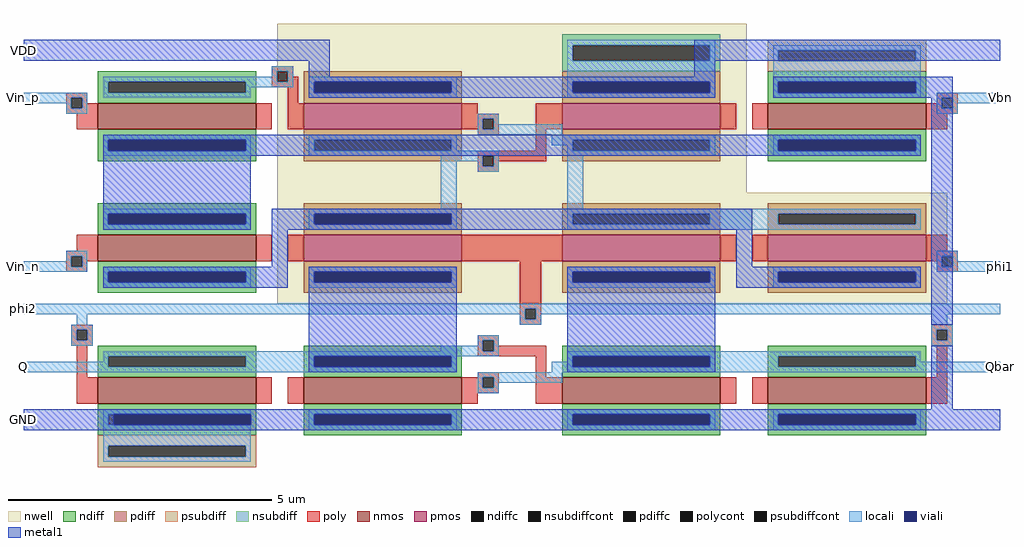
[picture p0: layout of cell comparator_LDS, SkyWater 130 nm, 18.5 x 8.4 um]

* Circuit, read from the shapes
.subckt comparator_LDS VDD Vin_p Vin_n phi2 Q GND Vbn phi1 Qbar
XM1 Q phi2 GND GND sky130_fd_pr__nfet_01v8 w=3 l=0.5
XM2 n1 Vin_n n2 GND sky130_fd_pr__nfet_01v8 w=3 l=0.5
XM3 n3 Vin_p n1 GND sky130_fd_pr__nfet_01v8 w=3 l=0.5
XM4 Q Qbar GND GND sky130_fd_pr__nfet_01v8 w=3 l=0.5
XM5 Qbar Q GND GND sky130_fd_pr__nfet_01v8 w=3 l=0.5
XM6 Qbar phi2 GND GND sky130_fd_pr__nfet_01v8 w=3 l=0.5
XM7 GND Vbn n1 GND sky130_fd_pr__nfet_01v8 w=3 l=0.5
XM8 n2 phi2 Q VDD sky130_fd_pr__pfet_01v8 w=3 l=0.5
XM9 VDD n3 n2 VDD sky130_fd_pr__pfet_01v8 w=3 l=0.5
XM10 n3 phi2 Qbar VDD sky130_fd_pr__pfet_01v8 w=3 l=0.5
XM11 VDD n2 n3 VDD sky130_fd_pr__pfet_01v8 w=3 l=0.5
XM12 n3 phi1 n2 VDD sky130_fd_pr__pfet_01v8 w=3 l=0.5
.ends

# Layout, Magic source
magic
tech sky130A
<< nwell >>
rect -140 420 750 740
rect -140 210 1130 420
<< nmos >>
rect -480 540 -180 590
rect 790 540 1090 590
rect -480 290 -180 340
rect -480 20 -180 70
rect -90 20 210 70
rect 400 20 700 70
rect 790 20 1090 70
<< pmos >>
rect -90 540 210 590
rect 400 540 700 590
rect -90 290 210 340
rect 400 290 700 340
rect 790 290 1090 340
<< ndiff >>
rect -480 630 -180 650
rect -480 610 -460 630
rect -200 610 -180 630
rect -480 590 -180 610
rect 790 630 1090 650
rect 790 610 810 630
rect 1070 610 1090 630
rect 790 590 1090 610
rect -480 520 -180 540
rect -480 500 -460 520
rect -200 500 -180 520
rect -480 480 -180 500
rect 790 520 1090 540
rect 790 500 810 520
rect 1070 500 1090 520
rect 790 480 1090 500
rect -480 380 -180 400
rect -480 360 -460 380
rect -200 360 -180 380
rect -480 340 -180 360
rect -480 270 -180 290
rect -480 250 -460 270
rect -200 250 -180 270
rect -480 230 -180 250
rect -480 110 -180 130
rect -480 90 -460 110
rect -200 90 -180 110
rect -480 70 -180 90
rect -90 110 210 130
rect -90 90 -70 110
rect 190 90 210 110
rect -90 70 210 90
rect 400 110 700 130
rect 400 90 420 110
rect 680 90 700 110
rect 400 70 700 90
rect 790 110 1090 130
rect 790 90 810 110
rect 1070 90 1090 110
rect 790 70 1090 90
rect -480 0 -180 20
rect -480 -20 -460 0
rect -190 -20 -180 0
rect -480 -40 -180 -20
rect -90 0 210 20
rect -90 -20 -70 0
rect 190 -20 210 0
rect -90 -40 210 -20
rect 400 0 700 20
rect 400 -20 420 0
rect 680 -20 700 0
rect 400 -40 700 -20
rect 790 0 1090 20
rect 790 -20 810 0
rect 1070 -20 1090 0
rect 790 -40 1090 -20
<< pdiff >>
rect -90 630 210 650
rect -90 610 -70 630
rect 190 610 210 630
rect -90 590 210 610
rect 400 630 700 650
rect 400 610 420 630
rect 680 610 700 630
rect 400 590 700 610
rect -90 520 210 540
rect -90 500 -70 520
rect 190 500 210 520
rect -90 480 210 500
rect 400 520 700 540
rect 400 500 420 520
rect 680 500 700 520
rect 400 480 700 500
rect -90 380 210 400
rect -90 360 -70 380
rect 190 360 210 380
rect -90 340 210 360
rect 400 380 700 400
rect 400 360 420 380
rect 680 360 700 380
rect 400 340 700 360
rect 790 380 1090 400
rect 790 360 810 380
rect 1070 360 1090 380
rect 790 340 1090 360
rect -90 270 210 290
rect -90 250 -70 270
rect 190 250 210 270
rect -90 230 210 250
rect 400 270 700 290
rect 400 250 420 270
rect 680 250 700 270
rect 400 230 700 250
rect 790 270 1090 290
rect 790 250 810 270
rect 1070 250 1090 270
rect 790 230 1090 250
<< ndiffc >>
rect -460 610 -200 630
rect 810 610 1070 630
rect -460 500 -200 520
rect 810 500 1070 520
rect -460 360 -200 380
rect -460 250 -200 270
rect -460 90 -200 110
rect -70 90 190 110
rect 420 90 680 110
rect 810 90 1070 110
rect -460 -20 -190 0
rect -70 -20 190 0
rect 420 -20 680 0
rect 810 -20 1070 0
<< pdiffc >>
rect -70 610 190 630
rect 420 610 680 630
rect -70 500 190 520
rect 420 500 680 520
rect -70 360 190 380
rect 420 360 680 380
rect 810 360 1070 380
rect -70 250 190 270
rect 420 250 680 270
rect 810 250 1070 270
<< psubdiff >>
rect 790 690 1090 710
rect 790 670 810 690
rect 1070 670 1090 690
rect 790 650 1090 670
rect -480 -60 -180 -40
rect -480 -80 -460 -60
rect -200 -80 -180 -60
rect -480 -100 -180 -80
<< nsubdiff >>
rect 400 700 700 720
rect 400 670 420 700
rect 680 670 700 700
rect 400 650 700 670
<< psubdiffcont >>
rect 810 670 1070 690
rect -460 -80 -200 -60
<< nsubdiffcont >>
rect 420 670 680 700
<< poly >>
rect -150 650 -110 660
rect -150 630 -140 650
rect -120 640 -110 650
rect -120 630 -100 640
rect -150 620 -100 630
rect -540 600 -500 610
rect -540 580 -530 600
rect -510 590 -500 600
rect -120 590 -100 620
rect 1110 600 1150 610
rect 1110 590 1120 600
rect -510 580 -480 590
rect -540 570 -480 580
rect -520 540 -480 570
rect -180 540 -150 590
rect -120 540 -90 590
rect 210 570 240 590
rect 210 560 280 570
rect 210 540 250 560
rect 270 540 280 560
rect 240 530 280 540
rect 350 540 400 590
rect 700 540 730 590
rect 760 540 790 590
rect 1090 580 1120 590
rect 1140 580 1150 600
rect 1090 570 1150 580
rect 1090 540 1130 570
rect 350 500 370 540
rect 240 490 370 500
rect 240 470 250 490
rect 270 480 370 490
rect 270 470 280 480
rect 240 460 280 470
rect -520 310 -480 340
rect -540 300 -480 310
rect -540 280 -530 300
rect -510 290 -480 300
rect -180 290 -150 340
rect -120 290 -90 340
rect 210 290 400 340
rect 700 290 730 340
rect 760 290 790 340
rect 1090 310 1130 340
rect 1090 300 1150 310
rect 1090 290 1120 300
rect -510 280 -500 290
rect -540 270 -500 280
rect 320 200 360 290
rect 1110 280 1120 290
rect 1140 280 1150 300
rect 1110 270 1150 280
rect 320 180 330 200
rect 350 180 360 200
rect 320 170 360 180
rect -530 160 -490 170
rect -530 140 -520 160
rect -500 140 -490 160
rect 1100 160 1140 170
rect -530 130 -490 140
rect 240 140 280 150
rect -520 70 -500 130
rect 240 120 250 140
rect 270 130 280 140
rect 1100 140 1110 160
rect 1130 140 1140 160
rect 1100 130 1140 140
rect 270 120 370 130
rect 240 110 370 120
rect 240 70 280 80
rect -520 20 -480 70
rect -180 20 -150 70
rect -120 20 -90 70
rect 210 50 250 70
rect 270 50 280 70
rect 210 40 280 50
rect 350 70 370 110
rect 1110 70 1130 130
rect 210 20 240 40
rect 350 20 400 70
rect 700 20 730 70
rect 760 20 790 70
rect 1090 20 1130 70
<< polycont >>
rect -140 630 -120 650
rect -530 580 -510 600
rect 250 540 270 560
rect 1120 580 1140 600
rect 250 470 270 490
rect -530 280 -510 300
rect 1120 280 1140 300
rect 330 180 350 200
rect -520 140 -500 160
rect 250 120 270 140
rect 1110 140 1130 160
rect 250 50 270 70
<< locali >>
rect 410 700 690 710
rect 410 670 420 700
rect 680 670 690 700
rect -150 650 -110 660
rect -150 640 -140 650
rect -470 630 -140 640
rect -120 630 -110 650
rect -470 610 -460 630
rect -200 620 -110 630
rect -80 630 200 640
rect -200 610 -190 620
rect -620 600 -500 610
rect -470 600 -190 610
rect -80 610 -70 630
rect 190 610 200 630
rect -80 600 200 610
rect 410 630 690 670
rect 410 610 420 630
rect 680 610 690 630
rect 410 600 690 610
rect 800 690 1080 700
rect 800 670 810 690
rect 1070 670 1080 690
rect 800 630 1080 670
rect 800 610 810 630
rect 1070 610 1080 630
rect 800 600 1080 610
rect 1110 600 1230 610
rect -620 590 -530 600
rect -540 580 -530 590
rect -510 580 -500 600
rect -540 570 -500 580
rect 1110 580 1120 600
rect 1140 590 1230 600
rect 1140 580 1150 590
rect 1110 570 1150 580
rect 240 560 280 570
rect 240 540 250 560
rect 270 550 280 560
rect 270 540 400 550
rect 240 530 400 540
rect -470 520 -190 530
rect -470 500 -460 520
rect -200 500 -190 520
rect -470 490 -190 500
rect -80 520 200 530
rect -80 500 -70 520
rect 190 500 200 520
rect 380 520 690 530
rect 380 510 420 520
rect 410 500 420 510
rect 680 500 690 520
rect -80 490 280 500
rect 170 480 250 490
rect 170 390 200 480
rect 240 470 250 480
rect 270 470 280 490
rect 240 460 280 470
rect 410 490 690 500
rect 800 520 1080 530
rect 800 500 810 520
rect 1070 500 1080 520
rect 800 490 1080 500
rect -470 380 -190 390
rect -470 360 -460 380
rect -200 360 -190 380
rect -470 350 -190 360
rect -80 380 200 390
rect -80 360 -70 380
rect 190 360 200 380
rect -80 350 200 360
rect 410 390 440 490
rect 410 380 1080 390
rect 410 360 420 380
rect 680 360 810 380
rect 1070 360 1080 380
rect 410 350 1080 360
rect -540 300 -500 310
rect -540 290 -530 300
rect -620 280 -530 290
rect -510 280 -500 300
rect 1110 300 1150 310
rect 1110 280 1120 300
rect 1140 290 1150 300
rect 1140 280 1230 290
rect -620 270 -500 280
rect -470 270 -190 280
rect -470 250 -460 270
rect -200 250 -190 270
rect -470 240 -190 250
rect -80 270 200 280
rect -80 250 -70 270
rect 190 250 200 270
rect -80 240 200 250
rect 410 270 690 280
rect 410 250 420 270
rect 680 250 690 270
rect 410 240 690 250
rect 800 270 1080 280
rect 1110 270 1230 280
rect 800 250 810 270
rect 1070 250 1080 270
rect 800 240 1080 250
rect -620 200 1230 210
rect -620 190 330 200
rect -520 170 -500 190
rect 320 180 330 190
rect 350 190 1230 200
rect 350 180 360 190
rect 320 170 360 180
rect 1100 170 1130 190
rect -530 160 -490 170
rect -530 140 -520 160
rect -500 140 -490 160
rect 1100 160 1140 170
rect -530 130 -490 140
rect 240 140 280 150
rect 240 130 250 140
rect 170 120 250 130
rect 270 120 280 140
rect 1100 140 1110 160
rect 1130 140 1140 160
rect 1100 130 1140 140
rect -470 110 280 120
rect 410 110 1080 120
rect -470 100 -460 110
rect -620 90 -460 100
rect -200 90 -70 110
rect 190 90 200 110
rect 410 100 420 110
rect -620 80 200 90
rect 380 90 420 100
rect 680 90 810 110
rect 1070 100 1080 110
rect 1070 90 1230 100
rect 380 80 1230 90
rect 240 70 400 80
rect 240 50 250 70
rect 270 60 400 70
rect 270 50 280 60
rect 240 40 280 50
rect -470 0 -190 10
rect -470 -20 -460 0
rect -470 -60 -190 -20
rect -80 0 200 10
rect -80 -20 -70 0
rect 190 -20 200 0
rect -80 -30 200 -20
rect 410 0 690 10
rect 410 -20 420 0
rect 680 -20 690 0
rect 410 -30 690 -20
rect 800 0 1080 10
rect 800 -20 810 0
rect 1070 -20 1080 0
rect 800 -30 1080 -20
rect -470 -80 -460 -60
rect -200 -80 -190 -60
rect -470 -90 -190 -80
<< viali >>
rect -70 610 190 630
rect 420 610 680 630
rect 810 610 1070 630
rect -460 500 -200 520
rect 810 500 1070 520
rect -460 360 -200 380
rect -70 360 190 380
rect -460 250 -200 270
rect -70 250 190 270
rect 420 250 680 270
rect 810 250 1070 270
rect -70 90 190 110
rect 420 90 680 110
rect -450 -20 -190 0
rect -70 -20 190 0
rect 420 -20 680 0
rect 810 -20 1070 0
<< metal1 >>
rect -620 670 -40 710
rect -80 640 -40 670
rect 650 670 1230 710
rect 650 640 690 670
rect -80 630 690 640
rect -80 610 -70 630
rect 190 610 420 630
rect 680 610 690 630
rect -80 600 690 610
rect 800 630 1140 640
rect 800 610 810 630
rect 1070 610 1140 630
rect 800 600 1140 610
rect -470 520 1080 530
rect -470 500 -460 520
rect -200 500 810 520
rect 1070 500 1080 520
rect -470 490 1080 500
rect -470 380 -190 490
rect -470 360 -460 380
rect -200 360 -190 380
rect -470 350 -190 360
rect -150 380 760 390
rect -150 360 -70 380
rect 190 360 760 380
rect -150 350 760 360
rect -150 280 -120 350
rect 730 280 760 350
rect -470 270 -120 280
rect -470 250 -460 270
rect -200 250 -120 270
rect -470 240 -120 250
rect -80 270 200 280
rect -80 250 -70 270
rect 190 250 200 270
rect -80 110 200 250
rect -80 90 -70 110
rect 190 90 200 110
rect -80 80 200 90
rect 410 270 690 280
rect 410 250 420 270
rect 680 250 690 270
rect 410 110 690 250
rect 730 270 1080 280
rect 730 250 810 270
rect 1070 250 1080 270
rect 730 240 1080 250
rect 1100 170 1140 600
rect 410 90 420 110
rect 680 90 690 110
rect 410 80 690 90
rect 1100 10 1140 130
rect -620 0 1230 10
rect -620 -20 -450 0
rect -190 -20 -70 0
rect 190 -20 420 0
rect 680 -20 810 0
rect 1070 -20 1230 0
rect -620 -30 1230 -20
<< labels >>
rlabel metal1 -620 690 -620 690 7 VDD
port 1 w
rlabel locali -620 600 -620 600 7 Vin_p
port 2 w
rlabel locali -620 280 -620 280 7 Vin_n
port 3 w
rlabel locali -620 200 -620 200 7 phi2
port 4 w
rlabel locali -620 90 -620 90 7 Q
port 5 w
rlabel metal1 -620 -10 -620 -10 7 GND
port 6 w
rlabel locali 1230 600 1230 600 3 Vbn
port 7 e
rlabel locali 1230 280 1230 280 3 phi1
port 8 e
rlabel locali 1230 90 1230 90 3 Qbar
port 9 e
<< end >>
